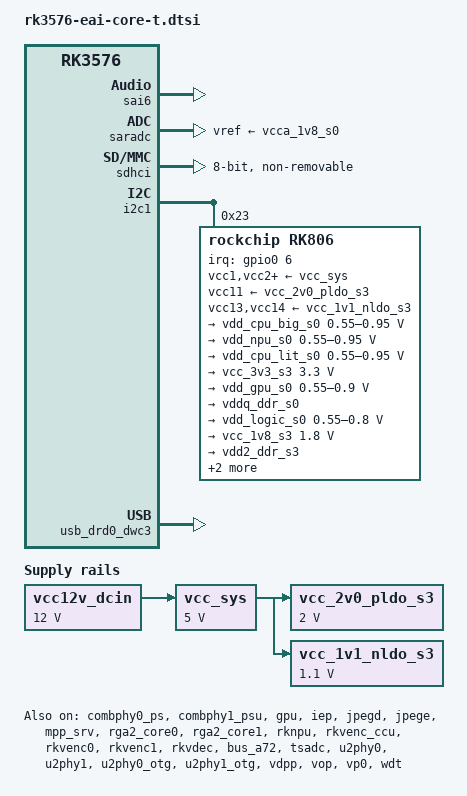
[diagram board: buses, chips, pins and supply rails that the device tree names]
// SPDX-License-Identifier: (GPL-2.0+ OR MIT)
/*
 * Guangzhou Easy EAI Technology Co., Ltd.
 *
 */

/* rk3576-eai-core-t.dtsi主要描述核心板, 从rk3576-evb.dtsi修改而来 */

#include <dt-bindings/gpio/gpio.h>
#include <dt-bindings/pwm/pwm.h>
#include <dt-bindings/pinctrl/rockchip.h>
#include <dt-bindings/input/rk-input.h>
#include <dt-bindings/display/drm_mipi_dsi.h>
#include <dt-bindings/display/rockchip_vop.h>
#include <dt-bindings/sensor-dev.h>

#include "rk3576.dtsi"
#include "rk3576-linux.dtsi"

/ {

	test-power {
		status = "okay";
	};

	vcc12v_dcin: vcc12v-dcin {
		compatible = "regulator-fixed";
		regulator-name = "vcc12v_dcin";
		regulator-always-on;
		regulator-boot-on;
		regulator-min-microvolt = <12000000>;
		regulator-max-microvolt = <12000000>;
	};

	vcc_sys: vcc5v0-sys {
		compatible = "regulator-fixed";
		regulator-name = "vcc_sys";
		regulator-always-on;
		regulator-boot-on;
		regulator-min-microvolt = <5000000>;
		regulator-max-microvolt = <5000000>;
		vin-supply = <&vcc12v_dcin>;
	};

	vcc_2v0_pldo_s3: vcc-2v0-pldo-s3 {
		compatible = "regulator-fixed";
		regulator-name = "vcc_2v0_pldo_s3";
		regulator-boot-on;
		regulator-always-on;
		regulator-min-microvolt = <2000000>;
		regulator-max-microvolt = <2000000>;
		vin-supply = <&vcc_sys>;
	};

	vcc_1v1_nldo_s3: vcc-1v1-nldo-s3 {
		compatible = "regulator-fixed";
		regulator-name = "vcc_1v1_nldo_s3";
		regulator-boot-on;
		regulator-always-on;
		regulator-min-microvolt = <1100000>;
		regulator-max-microvolt = <1100000>;
		vin-supply = <&vcc_sys>;
	};
};

&combphy0_ps {
	status = "okay";
};

&combphy1_psu {
	status = "okay";
};

&cpu_l0 {
	cpu-supply = <&vdd_cpu_lit_s0>;
};

&cpu_b0 {
	cpu-supply = <&vdd_cpu_big_s0>;
};

&gpu {
	mali-supply = <&vdd_gpu_s0>;
	status = "okay";
};

&iep {
	status = "okay";
};

&iep_mmu {
	status = "okay";
};

&jpegd {
	status = "okay";
};

&jpege {
	status = "okay";
};

&jpeg_mmu {
	status = "okay";
};

&mpp_srv {
	status = "okay";
};

&rga2_core0 {
	status = "okay";
};

&rga2_core0_mmu {
	status = "okay";
};

&rga2_core1 {
	status = "okay";
};

&rga2_core1_mmu {
	status = "okay";
};

&rknpu {
	rknpu-supply = <&vdd_npu_s0>;
	status = "okay";
};

&rknpu_mmu {
	status = "okay";
};

&rkvenc_ccu {
	status = "okay";
};

&rkvenc0 {
	status = "okay";
};

&rkvenc0_mmu {
	status = "okay";
};

&rkvenc1 {
	status = "okay";
};

&rkvenc1_mmu {
	status = "okay";

};

&rkvdec {
	status = "okay";
};

&rkvdec_mmu {
	status = "okay";
};

&rockchip_suspend {
	status = "okay";
	rockchip,sleep-debug-en = <1>;

	rockchip,sleep-io-ret-config = <
		(0
		| RKPM_VCCIO3_RET_EN
		)
	>;

	rockchip,regulator-on-before-mem = <&vdd_npu_s0>;
};

&sai6 {
	status = "okay";
};

&saradc {
	status = "okay";
	vref-supply = <&vcca_1v8_s0>;
};

&sdhci {
	bus-width = <8>;
	no-sdio;
	no-sd;
	non-removable;
	max-frequency = <200000000>;
	mmc-hs400-1_8v;
	mmc-hs400-enhanced-strobe;
	full-pwr-cycle-in-suspend;
	status = "okay";
};


&i2c1 {
	status = "okay";

	rk806: pmic@23 {
		compatible = "rockchip,rk806";
		reg = <0x23>;

		interrupt-parent = <&gpio0>;
		interrupts = <6 IRQ_TYPE_LEVEL_LOW>;

		pinctrl-names = "default";
		pinctrl-0 = <&pmic_pins>;

		/* 2800mv-3500mv */
		low_voltage_threshold = <3000>;
		/* 2700mv-3400mv */
		shutdown_voltage_threshold = <2700>;
		/* 140 160 */
		shutdown_temperture_threshold = <160>;
		hotdie_temperture_threshold = <115>;

		/* 0: restart PMU;
		 * 1: reset all the power off reset registers,
		 *    forcing the state to switch to ACTIVE mode;
		 * 2: Reset all the power off reset registers,
		 *    forcing the state to switch to ACTIVE mode,
		 *    and simultaneously pull down the RESETB PIN for 5mS before releasing
		 */
		pmic-reset-func = <1>;
		/* buck5 external feedback resister disable */
		buck5-feedback-disable;

		vcc1-supply = <&vcc_sys>;
		vcc2-supply = <&vcc_sys>;
		vcc3-supply = <&vcc_sys>;
		vcc4-supply = <&vcc_sys>;
		vcc5-supply = <&vcc_sys>;
		vcc6-supply = <&vcc_sys>;
		vcc7-supply = <&vcc_sys>;
		vcc8-supply = <&vcc_sys>;
		vcc9-supply = <&vcc_sys>;
		vcc10-supply = <&vcc_sys>;
		vcc11-supply = <&vcc_2v0_pldo_s3>;
		vcc12-supply = <&vcc_sys>;
		vcc13-supply = <&vcc_1v1_nldo_s3>;
		vcc14-supply = <&vcc_1v1_nldo_s3>;
		vcca-supply = <&vcc_sys>;

		pwrkey {
			status = "okay";
		};

		regulators {
			vdd_cpu_big_s0: DCDC_REG1 {
				regulator-always-on;
				regulator-boot-on;
				regulator-init-microvolt = <850000>;
				regulator-min-microvolt = <550000>;
				regulator-max-microvolt = <950000>;
				regulator-ramp-delay = <12500>;
				regulator-name = "vdd_cpu_big_s0";
				regulator-enable-ramp-delay = <400>;
				regulator-state-mem {
					regulator-off-in-suspend;
				};
			};

			vdd_npu_s0: DCDC_REG2 {
				regulator-boot-on;
				regulator-min-microvolt = <550000>;
				regulator-max-microvolt = <950000>;
				regulator-ramp-delay = <12500>;
				regulator-name = "vdd_npu_s0";
				regulator-enable-ramp-delay = <400>;
				regulator-state-mem {
					regulator-off-in-suspend;
				};
			};

			vdd_cpu_lit_s0: DCDC_REG3 {
				regulator-always-on;
				regulator-boot-on;
				regulator-init-microvolt = <850000>;
				regulator-min-microvolt = <550000>;
				regulator-max-microvolt = <950000>;
				regulator-ramp-delay = <12500>;
				regulator-name = "vdd_cpu_lit_s0";
				regulator-state-mem {
					regulator-off-in-suspend;
					regulator-suspend-microvolt = <750000>;
				};
			};

			vcc_3v3_s3: DCDC_REG4 {
				regulator-always-on;
				regulator-boot-on;
				regulator-min-microvolt = <3300000>;
				regulator-max-microvolt = <3300000>;
				regulator-name = "vcc_3v3_s3";
				regulator-state-mem {
					regulator-on-in-suspend;
					regulator-suspend-microvolt = <3300000>;
				};
			};

			vdd_gpu_s0: DCDC_REG5 {
				regulator-boot-on;
				regulator-init-microvolt = <750000>;
				regulator-min-microvolt = <550000>;
				regulator-max-microvolt = <900000>;
				regulator-ramp-delay = <12500>;
				regulator-name = "vdd_gpu_s0";
				regulator-enable-ramp-delay = <400>;
				regulator-state-mem {
					regulator-off-in-suspend;
					regulator-suspend-microvolt = <850000>;
				};
			};

			vddq_ddr_s0: DCDC_REG6 {
				regulator-always-on;
				regulator-boot-on;
				regulator-name = "vddq_ddr_s0";
				regulator-state-mem {
					regulator-off-in-suspend;
				};
			};

			vdd_logic_s0: vdd_log_mem_s0: DCDC_REG7 {
				regulator-always-on;
				regulator-boot-on;
				regulator-init-microvolt = <750000>;
				regulator-min-microvolt = <550000>;
				regulator-max-microvolt = <800000>;
				regulator-name = "vdd_logic_s0";
				regulator-state-mem {
					regulator-off-in-suspend;
				};
			};

			vcc_1v8_s3: DCDC_REG8 {
				regulator-always-on;
				regulator-boot-on;
				regulator-min-microvolt = <1800000>;
				regulator-max-microvolt = <1800000>;
				regulator-name = "vcc_1v8_s3";
				regulator-state-mem {
					regulator-on-in-suspend;
					regulator-suspend-microvolt = <1800000>;
				};
			};

			vdd2_ddr_s3: DCDC_REG9 {
				regulator-always-on;
				regulator-boot-on;
				regulator-name = "vdd2_ddr_s3";
				regulator-state-mem {
					regulator-on-in-suspend;
				};
			};

			vdd_ddr_s0: DCDC_REG10 {
				regulator-always-on;
				regulator-boot-on;
				regulator-min-microvolt = <550000>;
				regulator-max-microvolt = <1200000>;
				regulator-name = "vdd_ddr_s0";
				regulator-state-mem {
					regulator-off-in-suspend;
				};
			};

			vcca_1v8_s0: PLDO_REG1 {
				regulator-always-on;
				regulator-boot-on;
				regulator-min-microvolt = <1800000>;
				regulator-max-microvolt = <1800000>;
				regulator-name = "vcca_1v8_s0";
				regulator-state-mem {
					regulator-off-in-suspend;
				};
			};

			vcca1v8_pldo2_s0: PLDO_REG2 {
				regulator-always-on;
				regulator-boot-on;
				regulator-min-microvolt = <1800000>;
				regulator-max-microvolt = <1800000>;
				regulator-name = "vcca1v8_pldo2_s0";
				regulator-state-mem {
					regulator-off-in-suspend;
				};
			};

			vdda_1v2_s0: PLDO_REG3 {
				regulator-always-on;
				regulator-boot-on;
				regulator-min-microvolt = <1200000>;
				regulator-max-microvolt = <1200000>;
				regulator-name = "vdda_1v2_s0";
				regulator-state-mem {
					regulator-off-in-suspend;
				};
			};

			vcca_3v3_s0: PLDO_REG4 {
				regulator-always-on;
				regulator-boot-on;
				regulator-min-microvolt = <3300000>;
				regulator-max-microvolt = <3300000>;
				regulator-name = "vcca_3v3_s0";
				regulator-state-mem {
					regulator-off-in-suspend;
				};
			};

			vccio_sd_s0: PLDO_REG5 {
				regulator-always-on;
				regulator-boot-on;
				regulator-min-microvolt = <1800000>;
				regulator-max-microvolt = <3300000>;
				regulator-name = "vccio_sd_s0";
				regulator-state-mem {
					regulator-off-in-suspend;
				};
			};

			vcca1v8_pldo6_s3: PLDO_REG6 {
				regulator-always-on;
				regulator-boot-on;
				regulator-min-microvolt = <1800000>;
				regulator-max-microvolt = <1800000>;
				regulator-name = "vcca1v8_pldo6_s3";
				regulator-state-mem {
					regulator-on-in-suspend;
					regulator-suspend-microvolt = <1800000>;
				};
			};

			vdd_0v75_s3: NLDO_REG1 {
				regulator-always-on;
				regulator-boot-on;
				regulator-min-microvolt = <750000>;
				regulator-max-microvolt = <750000>;
				regulator-name = "vdd_0v75_s3";
				regulator-state-mem {
					regulator-on-in-suspend;
					regulator-suspend-microvolt = <750000>;
				};
			};

			vdda_ddr_pll_s0: NLDO_REG2 {
				regulator-always-on;
				regulator-boot-on;
				regulator-min-microvolt = <850000>;
				regulator-max-microvolt = <850000>;
				regulator-name = "vdda_ddr_pll_s0";
				regulator-state-mem {
					regulator-off-in-suspend;
				};
			};

			vdda0v75_hdmi_s0: NLDO_REG3 {
				regulator-always-on;
				regulator-boot-on;
				regulator-min-microvolt = <837500>;
				regulator-max-microvolt = <837500>;
				regulator-name = "vdda0v75_hdmi_s0";
				regulator-state-mem {
					regulator-off-in-suspend;
				};
			};

			vdda_0v85_s0: NLDO_REG4 {
				regulator-always-on;
				regulator-boot-on;
				regulator-min-microvolt = <850000>;
				regulator-max-microvolt = <850000>;
				regulator-name = "vdda_0v85_s0";
				regulator-state-mem {
					regulator-off-in-suspend;
				};
			};

			vdda_0v75_s0: NLDO_REG5 {
				regulator-always-on;
				regulator-boot-on;
				regulator-min-microvolt = <750000>;
				regulator-max-microvolt = <750000>;
				regulator-name = "vdda_0v75_s0";
				regulator-state-mem {
					regulator-off-in-suspend;
				};
			};
		};
	};
};

&bus_a72 {
	bus-supply = <&vdd_logic_s0>;
	pvtm-supply = <&vdd_logic_s0>;
	status = "okay";
};

&tsadc {
	status = "okay";
};

&u2phy0 {
	status = "okay";
};

&u2phy1 {
	status = "okay";
};

&u2phy0_otg {
	status = "okay";
};

&u2phy1_otg {
	status = "okay";
};

&usb_drd0_dwc3 {
	status = "okay";
};

&vdpp {
	status = "okay";
};

&vop {
	status = "okay";
	vop-supply = <&vdd_logic_s0>;
};

&vop_mmu {
	status = "okay";
};

&vp0 {
	status = "okay";
};

&vp2 {
	assigned-clocks = <&cru DCLK_VP2_SRC>;
	assigned-clock-parents = <&cru PLL_VPLL>;
};

&wdt {
        status = "okay";
};

